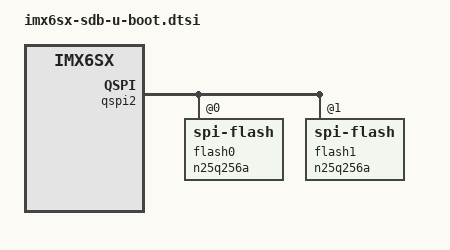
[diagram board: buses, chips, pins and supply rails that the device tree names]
// SPDX-License-Identifier: GPL-2.0+
/*
 * Copyright 2018 NXP
 */

&qspi2 {
	num-cs = <2>;

	flash0: n25q256a@0 {
		compatible = "spi-flash";
	};

	flash1: n25q256a@1 {
		compatible = "spi-flash";
	};
};
